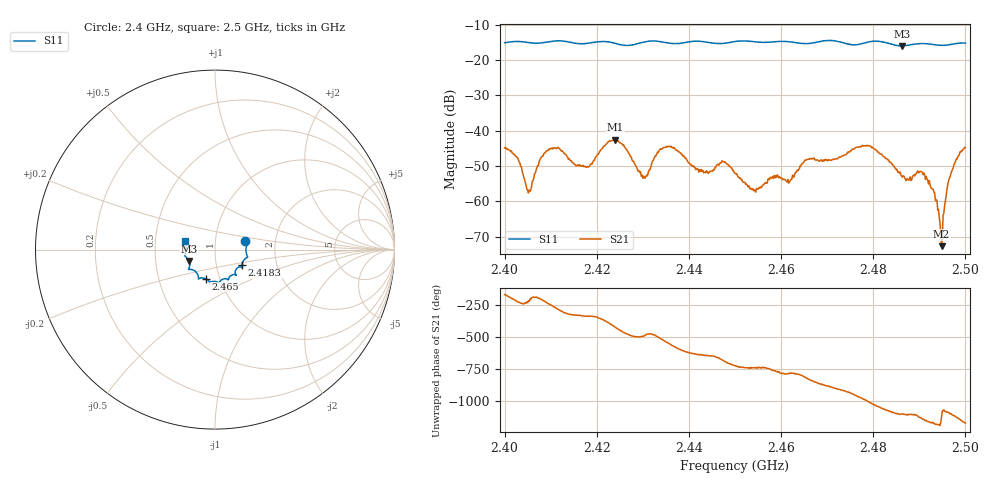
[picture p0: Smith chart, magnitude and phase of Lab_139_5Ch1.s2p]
# Hz S RI R 50
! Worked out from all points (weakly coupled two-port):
!   601 points, 2.4 GHz to 2.5 GHz, reference 50 ohm
!   highest |S21| = -42.56 dB at 2.424 GHz (marker M1); lowest = -72.7 dB at 2.4948 GHz (marker M2)
!   lowest |S11| = -16.0 dB at 2.4862 GHz (marker M3), VSWR 1.38, Z = 37.1 - j4.81 ohm
!   |S11| at or under -10 dB: start of sweep to end of sweep
!   S12 and S22 are empty: the file has one direction only
!   S11 on the Smith chart (normalised r, x): 2.4 GHz: 1.40, +0.13; 2.4183 GHz: 1.33, -0.24; 2.465 GHz: 0.86, -0.29; 2.5 GHz: 0.71, +0.07
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2.4e9  0.1692 0.0457  -0.00564 -0.000817  0 0  0 0
2.402833e9  0.1797 0.0329  -0.00267 0.00315  0 0  0 0
2.405333e9  0.1749 0.0156  -0.00103 0.00101  0 0  0 0
2.409833e9  0.1785 -0.0334  -0.00204 0.00518  0 0  0 0
2.416667e9  0.155 -0.0683  0.0029 0.00123  0 0  0 0
2.418333e9  0.1499 -0.0869  0.00298 0.000947  0 0  0 0
2.424e9  0.1424 -0.0962  0.00303 -0.00681  0 0  0 0
2.430167e9  0.1142 -0.1379  -0.0016 -0.00163  0 0  0 0
2.433333e9  0.1168 -0.1413  -0.00389 -0.00297  0 0  0 0
2.45e9  0.0251 -0.1804  0.00251 -0.000239  0 0  0 0
2.4545e9  0.011 -0.1797  0.00126 -0.00048  0 0  0 0
2.461833e9  -0.0323 -0.1778  0.000743 -0.00175  0 0  0 0
2.465e9  -0.0528 -0.162  -9.24e-05 -0.00363  0 0  0 0
2.466667e9  -0.0713 -0.1575  -0.00195 -0.00345  0 0  0 0
2.478833e9  -0.1406 -0.1104  0.00123 0.00596  0 0  0 0
2.483333e9  -0.1421 -0.096  0.00384 0.000155  0 0  0 0
2.486167e9  -0.1448 -0.0632  0.00215 -0.000724  0 0  0 0
2.491e9  -0.1672 -0.0331  0.00117 -0.00223  0 0  0 0
2.493333e9  -0.1634 -0.0159  -0.000145 -0.00131  0 0  0 0
2.494833e9  -0.1608 0.0021  0.00017 -0.000158  0 0  0 0
2.496667e9  -0.1629 0.0239  0.00209 -0.000718  0 0  0 0
2.5e9  -0.1668 0.0475  -4.92e-05 -0.00577  0 0  0 0
